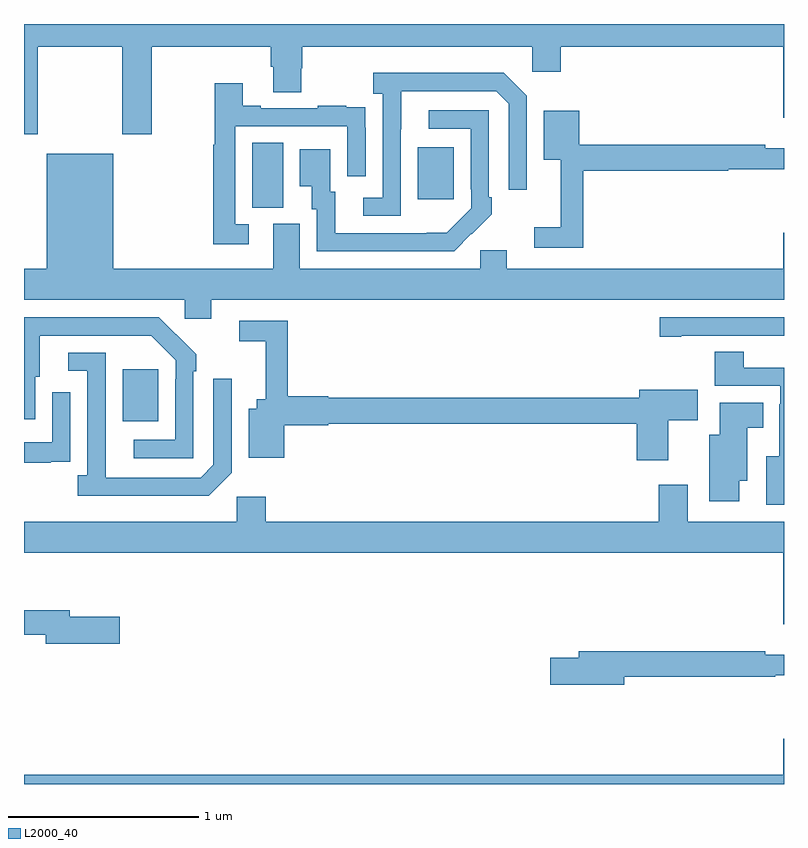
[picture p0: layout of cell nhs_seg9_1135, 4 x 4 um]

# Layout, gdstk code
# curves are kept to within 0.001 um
import gdstk
lib = gdstk.Library(unit=1e-6, precision=1e-09)
def R(c, l, rs):  # rectangles x0, y0, x1, y1
    for r in rs: c.add(gdstk.rectangle(r[:2], r[2:], *l))
def P(c, l, *ps):  # polygons
    for p in ps: c.add(gdstk.Polygon(p, *l))
L2000_40 = (2000, 40)

nhs_seg9_1135 = lib.new_cell('nhs_seg9_1135')
R(nhs_seg9_1135, L2000_40, [(173.519,1234.409,173.707,1234.684), (174.2,1235.533,174.364,1235.876), (175.073,1235.577,175.261,1235.851)])
P(nhs_seg9_1135, L2000_40, [(173.073,1236.38),(173.518,1236.38),(173.518,1235.919),(173.673,1235.919),(173.673,1236.38),(174.299,1236.38),(174.299,1236.274),(174.311,1236.274),(174.311,1236.142),(174.459,1236.142),(174.459,1236.267),(174.464,1236.267),(174.464,1236.38),(175.674,1236.38),(175.674,1236.249),(175.826,1236.249),(175.826,1236.38),(176.996,1236.38),(176.996,1236.006),(177,1236.006),(177,1236.5),(173,1236.5),(173,1235.919),(173.073,1235.919)],
  [(174.984,1235.947),(174.985,1236.147),(175.485,1236.147),(175.551,1236.081),(175.551,1235.628),(175.647,1235.628),(175.647,1236.123),(175.526,1236.244),(174.837,1236.244),(174.837,1236.134),(174.888,1236.134),(174.888,1235.586),(174.786,1235.586),(174.786,1235.49),(174.984,1235.49)],
  [(174.184,1235.445),(174.111,1235.445),(174.111,1235.961),(174.702,1235.961),(174.702,1235.7),(174.798,1235.7),(174.798,1235.954),(174.797,1235.954),(174.797,1236.063),(174.695,1236.063),(174.695,1236.07),(174.547,1236.07),(174.547,1236.057),(174.247,1236.057),(174.247,1236.07),(174.151,1236.07),(174.151,1236.187),(174.003,1236.187),(174.003,1235.864),(173.995,1235.864),(173.995,1235.34),(174.184,1235.34)],
  [(175.355,1235.395),(175.356,1235.394),(175.461,1235.499),(175.461,1235.587),(175.446,1235.587),(175.446,1236.045),(175.131,1236.045),(175.131,1235.949),(175.35,1235.949),(175.35,1235.629),(175.353,1235.629),(175.353,1235.529),(175.225,1235.401),(174.637,1235.4),(174.637,1235.616),(174.613,1235.616),(174.613,1235.842),(174.452,1235.842),(174.452,1235.645),(174.515,1235.645),(174.515,1235.526),(174.54,1235.526),(174.54,1235.304),(175.264,1235.304)],
  [(175.943,1235.728),(176.707,1235.728),(176.707,1235.736),(177,1235.736),(177,1235.845),(176.9,1235.845),(176.9,1235.864),(175.923,1235.864),(175.923,1236.043),(175.736,1236.043),(175.736,1235.786),(175.826,1235.786),(175.826,1235.431),(175.686,1235.431),(175.686,1235.322),(175.943,1235.322)],
  [(173.986,1235.048),(177,1235.048),(177,1235.401),(176.996,1235.401),(176.996,1235.212),(175.54,1235.212),(175.54,1235.31),(175.401,1235.31),(175.401,1235.212),(174.451,1235.212),(174.451,1235.448),(174.311,1235.448),(174.311,1235.212),(173.47,1235.212),(173.47,1235.818),(173.12,1235.818),(173.12,1235.212),(173,1235.212),(173,1235.048),(173.847,1235.048),(173.847,1234.95),(173.986,1234.95)],
  [(176.458,1234.86),(177,1234.86),(177,1234.956),(176.346,1234.956),(176.346,1234.855),(176.458,1234.855)],
  [(173.892,1234.673),(173.907,1234.673),(173.907,1234.761),(173.71,1234.956),(173,1234.956),(173,1234.419),(173.059,1234.419),(173.059,1234.644),(173.083,1234.644),(173.083,1234.86),(173.671,1234.86),(173.799,1234.731),(173.799,1234.631),(173.796,1234.631),(173.796,1234.311),(173.577,1234.311),(173.577,1234.215),(173.892,1234.215)],
  [(176.392,1234.414),(176.545,1234.414),(176.545,1234.576),(176.237,1234.576),(176.237,1234.532),(174.6,1234.532),(174.6,1234.54),(174.389,1234.54),(174.389,1234.938),(174.132,1234.938),(174.132,1234.83),(174.272,1234.83),(174.272,1234.525),(174.224,1234.525),(174.224,1234.474),(174.182,1234.474),(174.182,1234.217),(174.37,1234.217),(174.37,1234.388),(174.6,1234.388),(174.6,1234.396),(176.225,1234.396),(176.225,1234.203),(176.392,1234.203)],
  [(177,1234.692),(176.788,1234.692),(176.788,1234.775),(176.636,1234.775),(176.636,1234.596),(176.979,1234.596),(176.979,1234.499),(176.975,1234.499),(176.975,1234.225),(176.906,1234.225),(176.906,1233.971),(177,1233.971)],
  [(174.093,1234.137),(174.093,1234.633),(173.997,1234.633),(173.997,1234.179),(173.931,1234.113),(173.431,1234.113),(173.43,1234.77),(173.232,1234.77),(173.232,1234.674),(173.334,1234.674),(173.334,1234.126),(173.283,1234.126),(173.283,1234.016),(173.972,1234.016)],
  [(173.141,1234.197),(173.243,1234.197),(173.243,1234.306),(173.244,1234.306),(173.244,1234.561),(173.148,1234.561),(173.148,1234.299),(173,1234.299),(173,1234.191),(173.141,1234.191)],
  [(176.764,1234.097),(176.806,1234.097),(176.806,1234.376),(176.89,1234.376),(176.89,1234.507),(176.663,1234.507),(176.663,1234.339),(176.606,1234.339),(176.606,1233.987),(176.764,1233.987)],
  [(177,1233.88),(176.494,1233.88),(176.494,1234.075),(176.342,1234.075),(176.342,1233.88),(174.272,1233.88),(174.272,1234.012),(174.12,1234.012),(174.12,1233.88),(173,1233.88),(173,1233.716),(176.996,1233.716),(176.996,1233.342),(177,1233.342)],
  [(173.503,1233.381),(173.242,1233.381),(173.242,1233.415),(173,1233.415),(173,1233.286),(173.114,1233.286),(173.114,1233.239),(173.503,1233.239)],
  [(176.158,1233.064),(176.954,1233.064),(176.954,1233.072),(177,1233.072),(177,1233.181),(176.9,1233.181),(176.9,1233.2),(175.919,1233.2),(175.919,1233.164),(175.77,1233.164),(175.77,1233.022),(176.158,1233.022)],
  [(177,1232.737),(176.996,1232.737),(176.996,1232.548),(173,1232.548),(173,1232.5),(177,1232.5)])

lib.write_gds('nhs_seg9_1135.gds')
